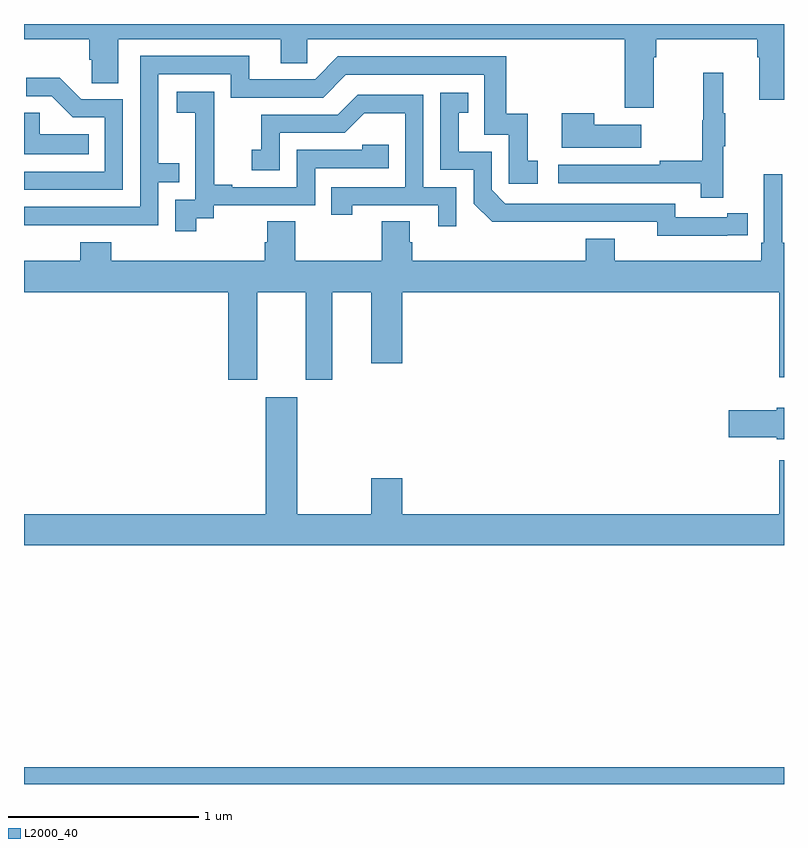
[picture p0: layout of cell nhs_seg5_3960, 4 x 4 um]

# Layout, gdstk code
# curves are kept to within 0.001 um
import gdstk
lib = gdstk.Library(unit=1e-6, precision=1e-09)
def R(c, l, rs):  # rectangles x0, y0, x1, y1
    for r in rs: c.add(gdstk.rectangle(r[:2], r[2:], *l))
def P(c, l, *ps):  # polygons
    for p in ps: c.add(gdstk.Polygon(p, *l))
L2000_40 = (2000, 40)

nhs_seg5_3960 = lib.new_cell('nhs_seg5_3960')
R(nhs_seg5_3960, L2000_40, [(343,892.799,347,892.888)])
P(nhs_seg5_3960, L2000_40, [(346.315,896.624),(346.328,896.624),(346.328,896.72),(346.859,896.72),(346.859,896.624),(346.871,896.624),(346.871,896.4),(347,896.4),(347,896.799),(343,896.799),(343,896.72),(343.343,896.72),(343.343,896.611),(343.356,896.611),(343.356,896.488),(343.495,896.488),(343.495,896.72),(344.351,896.72),(344.351,896.593),(344.49,896.593),(344.49,896.72),(346.163,896.72),(346.163,896.358),(346.315,896.358)],
  [(343.211,895.74),(343.707,895.74),(343.707,895.965),(343.817,895.965),(343.817,896.066),(343.707,896.066),(343.707,896.535),(344.088,896.535),(344.088,896.412),(344.574,896.412),(344.694,896.532),(345.423,896.532),(345.423,896.217),(345.552,896.217),(345.552,895.959),(345.703,895.959),(345.703,896.079),(345.65,896.079),(345.65,896.326),(345.539,896.326),(345.539,896.628),(344.652,896.628),(344.532,896.508),(344.185,896.508),(344.185,896.631),(343.611,896.631),(343.611,895.836),(343,895.836),(343,895.739)],
  [(346.679,896.155),(346.69,896.155),(346.69,896.329),(346.679,896.329),(346.679,896.542),(346.576,896.542),(346.576,896.292),(346.569,896.292),(346.569,896.078),(346.345,896.078),(346.345,896.058),(345.813,896.058),(345.813,895.962),(346.561,895.962),(346.561,895.884),(346.679,895.884)],
  [(343.521,896.403),(343.302,896.403),(343.189,896.516),(343.011,896.516),(343.011,896.418),(343.145,896.418),(343.256,896.307),(343.425,896.307),(343.425,896.022),(343,896.022),(343,895.926),(343.521,895.926)],
  [(343.906,895.777),(343.998,895.777),(343.998,895.845),(344.532,895.845),(344.532,896.04),(344.921,896.04),(344.921,896.163),(344.781,896.163),(344.781,896.136),(344.436,896.136),(344.436,895.941),(344.095,895.941),(344.095,895.954),(344,895.954),(344,896.237),(344.001,896.237),(344.001,896.443),(343.803,896.443),(343.803,896.333),(343.901,896.333),(343.901,896.105),(343.902,896.105),(343.902,895.875),(343.797,895.875),(343.797,895.707),(343.906,895.707)],
  [(346.7,895.686),(346.808,895.686),(346.808,895.802),(346.7,895.802),(346.7,895.782),(346.428,895.782),(346.428,895.854),(345.534,895.854),(345.462,895.926),(345.462,896.127),(345.289,896.127),(345.289,896.331),(345.338,896.331),(345.338,896.437),(345.192,896.437),(345.192,896.031),(345.366,896.031),(345.366,895.854),(345.464,895.757),(346.332,895.758),(346.332,895.685)],
  [(345.276,895.941),(345.102,895.941),(345.102,896.427),(344.756,896.427),(344.651,896.322),(344.248,896.322),(344.248,896.137),(344.199,896.137),(344.199,896.028),(344.346,896.028),(344.346,896.226),(344.688,896.226),(344.792,896.33),(345.006,896.33),(345.006,895.941),(344.617,895.941),(344.617,895.794),(344.728,895.794),(344.728,895.845),(345.179,895.845),(345.179,895.734),(345.276,895.734)],
  [(343.34,896.218),(343.083,896.218),(343.083,896.333),(343,896.333),(343,896.114),(343.34,896.114)],
  [(346.249,896.269),(346.001,896.269),(346.001,896.329),(345.83,896.329),(345.83,896.147),(346.249,896.147)],
  [(344.227,895.388),(344.483,895.388),(344.483,894.927),(344.623,894.927),(344.623,895.388),(344.828,895.388),(344.828,895.014),(344.992,895.014),(344.992,895.388),(346.974,895.388),(346.974,894.939),(347,894.939),(347,895.648),(346.99,895.648),(346.99,896.008),(346.893,896.008),(346.893,895.648),(346.88,895.648),(346.88,895.552),(346.108,895.552),(346.108,895.669),(345.956,895.669),(345.956,895.552),(345.044,895.552),(345.044,895.65),(345.031,895.65),(345.031,895.76),(344.884,895.76),(344.884,895.552),(344.427,895.552),(344.427,895.76),(344.279,895.76),(344.279,895.65),(344.267,895.65),(344.267,895.552),(343.46,895.552),(343.46,895.651),(343.295,895.651),(343.295,895.552),(343,895.552),(343,895.388),(344.075,895.388),(344.075,894.927),(344.227,894.927)],
  [(347,894.502),(346.974,894.502),(346.974,894.22),(344.992,894.22),(344.992,894.409),(344.828,894.409),(344.828,894.22),(344.437,894.22),(344.437,894.835),(344.273,894.835),(344.273,894.22),(343,894.22),(343,894.056),(347,894.056)],
  [(347,894.778),(346.962,894.778),(346.962,894.767),(346.71,894.767),(346.71,894.625),(346.962,894.625),(346.962,894.614),(347,894.614)])

lib.write_gds('nhs_seg5_3960.gds')
